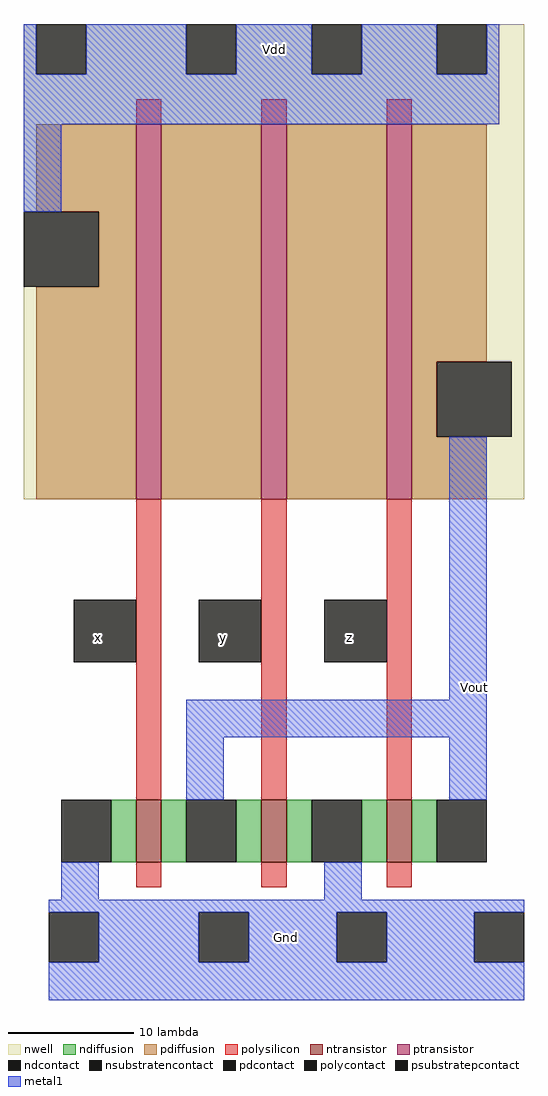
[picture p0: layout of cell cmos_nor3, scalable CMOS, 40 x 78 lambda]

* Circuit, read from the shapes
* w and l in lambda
.subckt cmos_nor3 Gnd Vdd Vout x y z
M1 Vout x Gnd Gnd nfet w=5 l=2
M2 Gnd y Vout Gnd nfet w=5 l=2
M3 Vout z Gnd Gnd nfet w=5 l=2
M4 n1 x Vdd Vdd pfet w=30 l=2
M5 n2 y n1 Vdd pfet w=30 l=2
M6 Vout z n2 Vdd pfet w=30 l=2
.ends

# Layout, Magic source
magic
tech scmos
<< nwell >>
rect -8 10 32 48
<< polysilicon >>
rect 1 40 3 42
rect 11 40 13 42
rect 21 40 23 42
rect 1 -14 3 10
rect 11 -14 13 10
rect 21 -14 23 10
rect 1 -21 3 -19
rect 11 -21 13 -19
rect 21 -21 23 -19
<< ndiffusion >>
rect -1 -19 1 -14
rect 3 -19 5 -14
rect 9 -19 11 -14
rect 13 -19 15 -14
rect 19 -19 21 -14
rect 23 -19 25 -14
<< pdiffusion >>
rect -7 33 1 40
rect -2 27 1 33
rect -7 10 1 27
rect 3 10 11 40
rect 13 10 21 40
rect 23 21 29 40
rect 23 15 25 21
rect 23 10 29 15
<< metal1 >>
rect -8 44 -7 48
rect -3 44 5 48
rect 9 44 15 48
rect 19 44 25 48
rect 29 44 30 48
rect -8 40 30 44
rect -8 33 -5 40
rect 26 -6 29 15
rect 5 -9 29 -6
rect 5 -14 8 -9
rect 26 -14 29 -9
rect -5 -22 -2 -19
rect 16 -22 19 -19
rect -6 -23 32 -22
rect -2 -27 6 -23
rect 10 -27 17 -23
rect 21 -27 28 -23
rect -6 -30 32 -27
<< ntransistor >>
rect 1 -19 3 -14
rect 11 -19 13 -14
rect 21 -19 23 -14
<< ptransistor >>
rect 1 10 3 40
rect 11 10 13 40
rect 21 10 23 40
<< polycontact >>
rect -4 -3 1 2
rect 6 -3 11 2
rect 16 -3 21 2
<< ndcontact >>
rect -5 -19 -1 -14
rect 5 -19 9 -14
rect 15 -19 19 -14
rect 25 -19 29 -14
<< pdcontact >>
rect -8 27 -2 33
rect 25 15 31 21
<< psubstratepcontact >>
rect -6 -27 -2 -23
rect 6 -27 10 -23
rect 17 -27 21 -23
rect 28 -27 32 -23
<< nsubstratencontact >>
rect -7 44 -3 48
rect 5 44 9 48
rect 15 44 19 48
rect 25 44 29 48
<< labels >>
rlabel metal1 12 46 12 46 5 Vdd
rlabel polycontact -2 -1 -2 -1 3 x
rlabel polycontact 8 -1 8 -1 1 y
rlabel polycontact 18 -1 18 -1 1 z
rlabel metal1 28 -5 28 -5 7 Vout
rlabel metal1 13 -25 13 -25 1 Gnd
<< end >>
